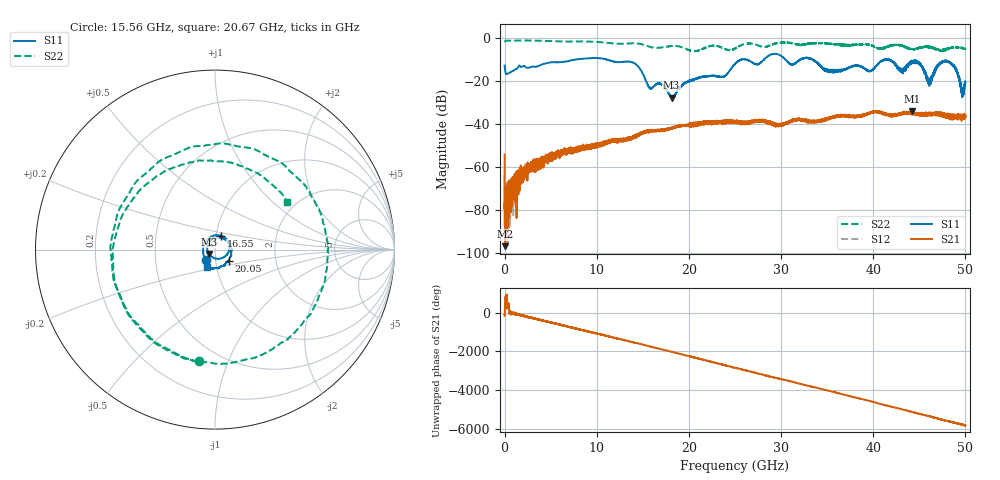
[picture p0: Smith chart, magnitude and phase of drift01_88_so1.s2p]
!Created with skrf (http://scikit-rf.org).
# Hz S RI R 50.0
!freq ReS11 ImS11 ReS21 ImS21 ReS12 ImS12 ReS22 ImS22
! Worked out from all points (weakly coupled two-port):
!   10001 points, 300 kHz to 50 GHz, reference 50 ohm
!   highest |S21| = -34.11 dB at 44.19 GHz (marker M1); lowest = -96.8 dB at 80.3 MHz (marker M2)
!   lowest |S11| = -27.8 dB at 18.12 GHz (marker M3), VSWR 1.08, Z = 46.8 - j2.35 ohm
!   |S11| at or under -10 dB: start of sweep to 8.099 GHz; 10.9 GHz to 28.2 GHz (17.3 GHz wide, 88.5 % of centre); 33.35 GHz to end of sweep (the widest 3 of 11)
!   |S22| runs from -6.4 to -1.4 dB; largest |S21 - S12| = 0.0038
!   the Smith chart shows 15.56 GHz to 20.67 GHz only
!   S11 on the Smith chart (normalised r, x): 15.56 GHz: 0.90, -0.11; 16.55 GHz: 1.06, +0.16; 20.05 GHz: 1.15, -0.15; 20.67 GHz: 0.89, -0.18
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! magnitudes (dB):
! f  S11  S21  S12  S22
! 300 kHz  -13.0  -54.2  -64.0  -2.1
! 80.3 MHz  -15.8  -96.8  -80.3  -1.5
! 255.3 MHz  -16.9  -78.5  -74.8  -1.4
! 2.91 GHz  -13.6  -62.1  -61.2  -1.4
! 8.335 GHz  -9.9  -51.8  -51.8  -1.8
! 13.87 GHz  -11.5  -46.0  -46.5  -2.7
! 15.56 GHz  -22.1  -42.9  -43.4  -4.0
! 16.55 GHz  -21.5  -43.0  -43.3  -4.7
! 16.67 GHz  -21.3  -42.9  -43.2  -4.8
! 18.12 GHz  -27.8  -42.0  -41.9  -3.9
! 20.05 GHz  -20.0  -40.9  -41.0  -5.9
! 20.67 GHz  -19.2  -39.9  -39.7  -6.3
! 25 GHz  -12.2  -39.0  -39.4  -5.0
! 33.34 GHz  -10.0  -39.0  -38.7  -2.7
! 35.31 GHz  -15.5  -37.3  -37.2  -2.9
! 41.67 GHz  -10.3  -36.2  -35.8  -4.2
! 43.03 GHz  -15.4  -35.2  -35.1  -3.6
! 44.19 GHz  -11.0  -34.1  -34.8  -5.5
! 46.11 GHz  -20.5  -35.5  -35.5  -4.5
! 48.16 GHz  -11.1  -36.3  -36.3  -5.2
! 49.63 GHz  -24.7  -37.2  -36.3  -4.8
! 50 GHz  -21.0  -36.6  -36.9  -5.3
